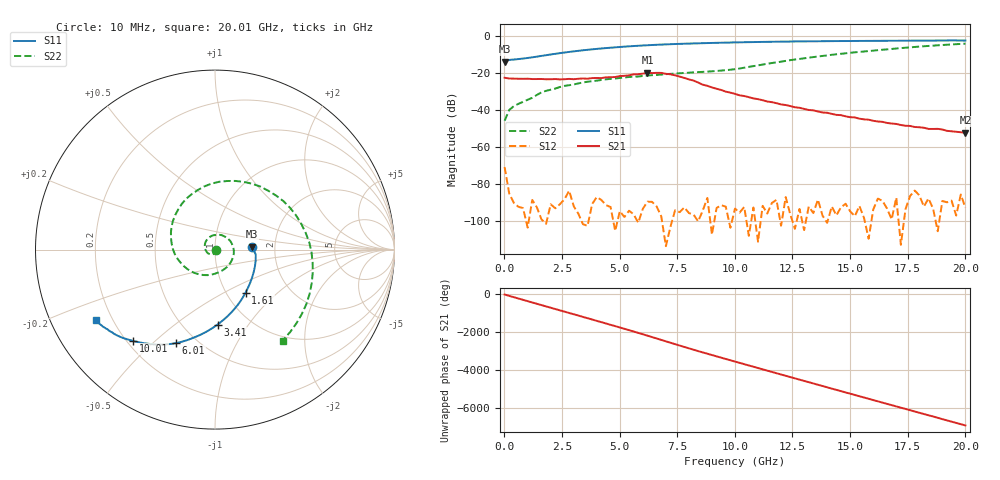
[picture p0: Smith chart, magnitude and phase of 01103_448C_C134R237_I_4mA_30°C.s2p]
!;Filter: kein Filter
!auto
!3/21/2019 9:25:24 AM
!3/21/2019 9:25:40 AM
!SP-Measurements Prober G4
!SP-Measurements Prober G4
!01103_448C
!134
!237
!12
!30
!-20
!0.00399976
!1.88
!0.54220246
!0.54220246
# Hz S  RI  R 50
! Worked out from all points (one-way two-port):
!   101 points, 10 MHz to 20.01 GHz, reference 50 ohm
!   highest |S21| = -19.81 dB at 6.21 GHz (marker M1); lowest = -52.3 dB at 20.01 GHz (marker M2)
!   lowest |S11| = -13.7 dB at 10 MHz (marker M3), VSWR 1.52, Z = 75.8 + j2.44 ohm
!   |S11| at or under -10 dB: start of sweep to 1.936 GHz
!   |S22| runs from -45.8 to -4.0 dB; largest |S21 - S12| = 0.1
!   S11 on the Smith chart (normalised r, x): 10 MHz: 1.52, +0.05; 1.61 GHz: 1.23, -0.64; 3.41 GHz: 0.72, -0.73; 6.01 GHz: 0.39, -0.59; 10.01 GHz: 0.22, -0.43; 20.01 GHz: 0.14, -0.27
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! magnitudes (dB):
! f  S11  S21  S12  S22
! 10 MHz  -13.7  -22.5  -70.9  -45.8
! 210 MHz  -12.8  -22.9  -85.3  -40.0
! 410 MHz  -12.6  -23.0  -90.4  -37.9
! 1.21 GHz  -11.4  -23.2  -88.8  -33.4
! 1.61 GHz  -10.6  -23.1  -99.3  -30.4
! 2.61 GHz  -8.8  -23.3  -88.4  -26.9
! 3.41 GHz  -7.6  -22.9  -102.0  -25.1
! 4.81 GHz  -6.0  -22.1  -105.6  -22.9
! 6.01 GHz  -5.0  -20.3  -93.6  -21.5
! 6.21 GHz  -4.8  -19.8  -89.8  -21.3
! 6.81 GHz  -4.5  -19.9  -97.7  -20.8
! 7.61 GHz  -4.1  -21.9  -95.4  -20.0
! 8.21 GHz  -3.9  -24.0  -96.8  -19.5
! 8.61 GHz  -3.7  -26.2  -94.6  -19.3
! 10.01 GHz  -3.3  -31.2  -93.5  -17.8
! 12.01 GHz  -2.9  -37.0  -102.8  -13.8
! 13.41 GHz  -2.7  -40.2  -95.9  -11.3
! 16.81 GHz  -2.4  -47.3  -99.3  -6.8
! 18.41 GHz  -2.3  -50.3  -88.0  -5.2
! 18.81 GHz  -2.3  -50.2  -105.8  -4.9
! 19.21 GHz  -2.2  -51.3  -90.1  -4.5
! 20.01 GHz  -2.3  -52.3  -93.1  -4.0
